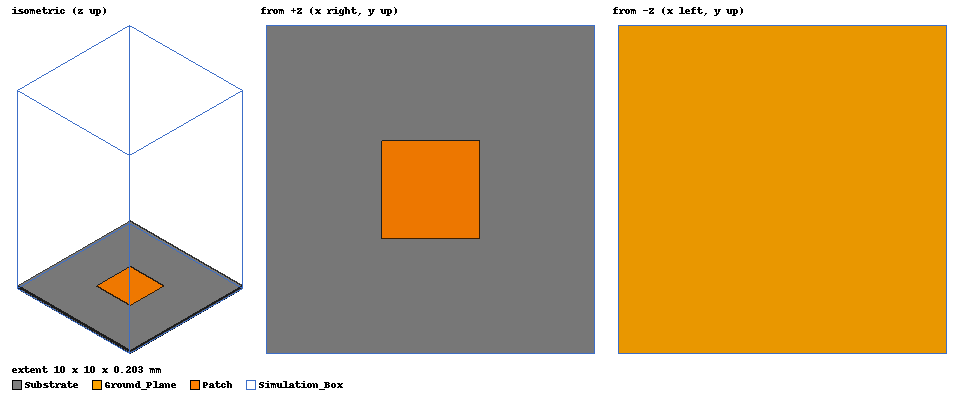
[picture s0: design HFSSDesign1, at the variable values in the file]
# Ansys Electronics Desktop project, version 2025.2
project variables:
  $Lambda = 30mm  # wavelength in air
  $Dk = 4.5  # dielectric constant
  $H = 0.203mm  # dielectric height
  $T = 0.004mil  # conductor thickness
  $L = $Lambda*$waveFactor
  $Lpatch = 3mm  # rect patch dimension; tune 5mm..15mm
  $mfrgTol = 6mil
  $waveFactor = 1/3
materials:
  vacuum: permittivity=1
  Rogers RT/duroid 5880 (tm): permittivity=2.2 dielectric_loss_tangent=0.0009
  copper: permeability=0.999991 conductivity=58000000
  Kingboard KB6167F: permittivity=4.5 dielectric_loss_tangent=0.016
  Rogers RO4003 (tm): permittivity=3.55 dielectric_loss_tangent=0.0027
  Rogers RO4350 (tm): permittivity=3.66 dielectric_loss_tangent=0.004

design HFSSDesign1 (HFSS, HFSS Terminal Network, model units mm)
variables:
  Phi_Scan = 0deg
  Theta_Scan = 0deg
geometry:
  Substrate [Rogers RO4350 (tm)] = box(corner=(-$L/2, -$L/2, 0mm), size=($L, $L, $H))
  Substrate.move(0mm, 0mm, 0mm)
  Simulation_Box [vacuum] = box(corner=(-$L/2, -$L/2, 0), size=($L, $L, $Lambda/2+$H))
  Ground_Plane = rectangle(corner=(-$L/2, -$L/2, 0mm), x_size=$L, y_size=$L)
  coordinate_system RelativeCS1 = origin=(0mm, 0mm, 0.5081016mm) x=(1mm, 0mm, 0mm) y=(0mm, 1mm, 0mm)
  Patch = rectangle(corner=(-$Lpatch/2, -$Lpatch/2, $H), x_size=$Lpatch, y_size=$Lpatch)
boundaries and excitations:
  Primary1_-y: Primary Faces=Simulation_Box.face(-y) CoordSysVector{(-5, -5, 15.203) -> (5, -5, 15.203)}
  Primary2_-x: Primary Faces=Simulation_Box.face(-x) CoordSysVector{(-5, -5, 15.203) -> (-5, 5, 15.203)} ReverseV
  PerfE1: Perfect E Objects=Ground_Plane
  Secondary1_+y: Secondary Faces=Simulation_Box.face(+y) CoordSysVector{(-5, 5, 15.203) -> (5, 5, 15.203)} ReverseV primary=Primary1_-y PhaseDelay=UseScanAngle Phi=0 Theta=0
  Secondary2_+x: Secondary Faces=Simulation_Box.face(+x) CoordSysVector{(5, -5, 15.203) -> (5, 5, 15.203)} primary=Primary2_-x PhaseDelay=UseScanAngle Phi=0deg Theta=0deg
  PerfE2: Perfect E Faces=Patch.face
  FloquetPort1: Floquet Port Faces=Simulation_Box.face(+z) NumModes=2 DeembedDist=$Lambda/2 Modes{Mode1{CharImp=Zpi} Mode2{CharImp=Zpi}} PhaseDelay=UseScanAngle Phi=0deg Theta=0deg LatticeAVector{(5, -5, 15.203) -> (-5, -5, 15.203)} LatticeBVector{(5, -5, 15.203) -> (5, 5, 15.203)} ModesCalculator{Frequency=1GHz PhiStart=0deg PhiStop=0deg PhiStep=0deg ThetaStart=0deg ThetaStop=0deg ThetaStep=0deg} ModesList{Mode{ModeNumber=1 IndexM=0 IndexN=0 KC2=0 PropagationState=Propagating Attenuation=0 PolarizationState=TE AffectsRefinement} Mode{ModeNumber=2 IndexM=0 IndexN=0 KC2=0 PropagationState=Propagating Attenuation=0 PolarizationState=TM AffectsRefinement}}
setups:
  Setup1: HfssDriven Frequency=11GHz MaxDeltaS=0.01 MaximumPasses=25 MinimumPasses=1 MinimumConvergedPasses=2 PercentRefinement=90 BasisOrder=1 Target=0.05 PortAccuracy=2 DrivenSolverType="Iterative Solver" IterativeResidual=1e-05 DDMSolverResidual=0.0001
    sweep Sweep: 9GHz to 11GHz, 401 points; disabled Type=Interpolating InterpTolerance=0.5 InterpMaxSolns=250 PassivityErrorTolerance=0.0001
    sweep 10GHz: point 10GHz; Type=Discrete SaveFields
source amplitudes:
  FloquetPort1:1: 1V 0deg
  FloquetPort1:2: 0V 0deg
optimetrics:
  ParametricSetup1: Parametric Sim._Setups=[Setup1]
    sweep $Lpatch: LIN 3mm 9.746mm 10mil
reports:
  Terminal S Parameter Plot1: dB(St(FloquetPort1:1,FloquetPort1:1)) vs $Lpatch on Setup1 : 10GHz [Freq=all]
  Terminal S Parameter Plot2: ang_deg(St(FloquetPort1:1,FloquetPort1:1)) vs $Lpatch on Setup1 : 10GHz [Freq=all]
